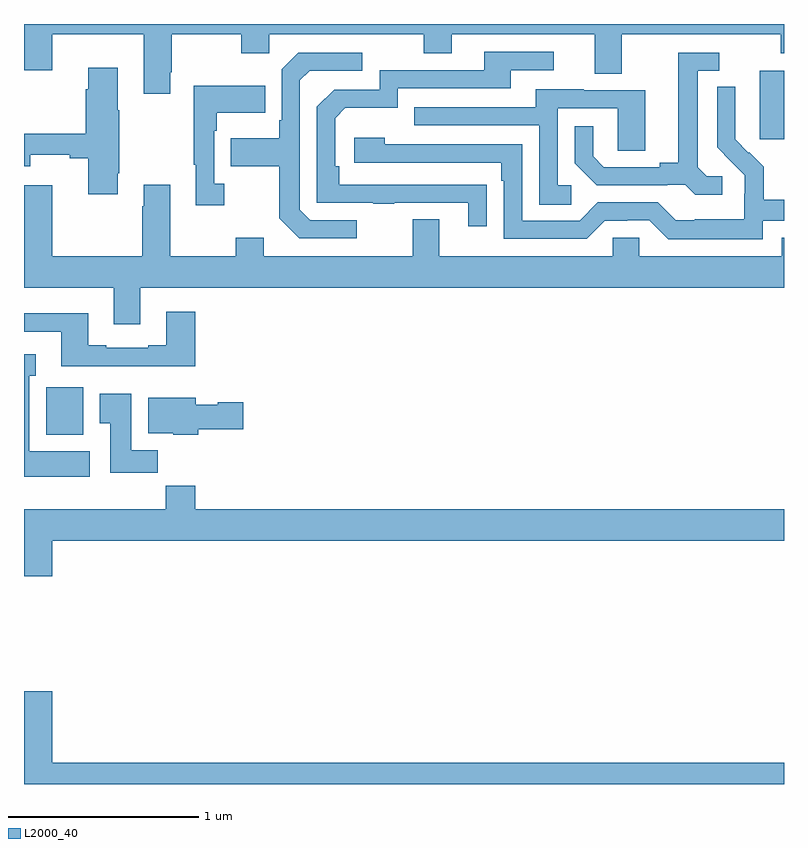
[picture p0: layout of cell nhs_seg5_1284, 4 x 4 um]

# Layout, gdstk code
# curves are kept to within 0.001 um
import gdstk
lib = gdstk.Library(unit=1e-6, precision=1e-09)
def R(c, l, rs):  # rectangles x0, y0, x1, y1
    for r in rs: c.add(gdstk.rectangle(r[:2], r[2:], *l))
def P(c, l, *ps):  # polygons
    for p in ps: c.add(gdstk.Polygon(p, *l))
L2000_40 = (2000, 40)

nhs_seg5_1284 = lib.new_cell('nhs_seg5_1284')
R(nhs_seg5_1284, L2000_40, [(189.117,870.638,189.313,870.888), (192.872,872.193,193,872.554)])
P(nhs_seg5_1284, L2000_40, [(189.769,872.545),(189.777,872.545),(189.777,872.744),(190.144,872.744),(190.144,872.645),(190.29,872.645),(190.29,872.744),(191.104,872.744),(191.104,872.645),(191.251,872.645),(191.251,872.744),(192.005,872.744),(192.005,872.536),(192.145,872.536),(192.145,872.744),(192.982,872.744),(192.982,872.645),(193,872.645),(193,872.799),(189,872.799),(189,872.556),(189.148,872.556),(189.148,872.744),(189.629,872.744),(189.629,872.433),(189.769,872.433)],
  [(191.435,871.952),(190.658,871.953),(190.658,872.05),(190.638,872.05),(190.638,872.304),(190.691,872.357),(190.968,872.357),(190.968,872.46),(191.563,872.46),(191.563,872.556),(191.788,872.556),(191.788,872.652),(191.423,872.652),(191.423,872.556),(190.872,872.556),(190.872,872.454),(190.632,872.454),(190.542,872.364),(190.542,871.857),(190.837,871.857),(190.837,871.852),(190.949,871.852),(190.949,871.857),(191.339,871.857),(191.339,871.734),(191.435,871.734)],
  [(192.676,871.998),(192.594,871.998),(192.547,872.045),(192.547,872.553),(192.658,872.553),(192.658,872.649),(192.443,872.649),(192.443,872.069),(192.347,872.069),(192.347,872.046),(192.052,872.046),(191.995,872.103),(191.995,872.26),(191.898,872.26),(191.898,872.066),(192.014,871.95),(192.386,871.95),(192.386,871.953),(192.48,871.953),(192.532,871.901),(192.676,871.901)],
  [(190.75,871.767),(190.506,871.767),(190.452,871.821),(190.452,872.502),(190.503,872.553),(190.78,872.553),(190.78,872.649),(190.443,872.649),(190.356,872.562),(190.356,872.293),(190.344,872.293),(190.344,872.197),(190.087,872.197),(190.087,872.05),(190.344,872.05),(190.344,871.777),(190.449,871.671),(190.75,871.671)],
  [(189.493,872.014),(189.501,872.014),(189.501,872.345),(189.493,872.345),(189.493,872.569),(189.338,872.569),(189.338,872.456),(189.326,872.456),(189.326,872.221),(189,872.221),(189,872.05),(189.034,872.05),(189.034,872.111),(189.242,872.111),(189.242,872.092),(189.338,872.092),(189.338,871.902),(189.493,871.902)],
  [(190.054,871.958),(190.002,871.958),(190.002,872.237),(190.015,872.237),(190.015,872.333),(190.271,872.333),(190.271,872.473),(189.894,872.473),(189.894,872.057),(189.905,872.057),(189.905,871.845),(190.054,871.845)],
  [(192.888,871.764),(193,871.764),(193,871.873),(192.893,871.873),(192.893,872.047),(192.816,872.124),(192.813,872.121),(192.743,872.192),(192.744,872.468),(192.648,872.468),(192.648,872.15),(192.794,872.002),(192.794,871.905),(192.792,871.905),(192.792,871.771),(192.529,871.771),(192.529,871.767),(192.429,871.767),(192.336,871.86),(192.021,871.86),(191.925,871.764),(191.622,871.764),(191.622,872.166),(190.898,872.166),(190.898,872.2),(190.737,872.2),(190.737,872.07),(191.513,872.07),(191.513,871.973),(191.526,871.973),(191.526,871.668),(191.961,871.668),(192.057,871.764),(192.176,871.764),(192.176,871.767),(192.291,871.767),(192.391,871.667),(192.888,871.667)],
  [(191.881,871.95),(191.808,871.95),(191.808,872.355),(192.126,872.355),(192.126,872.131),(192.271,872.131),(192.271,872.451),(191.947,872.451),(191.947,872.455),(191.693,872.455),(191.693,872.361),(191.053,872.361),(191.053,872.265),(191.712,872.265),(191.712,871.849),(191.881,871.849)],
  [(189.613,871.412),(193,871.412),(193,871.675),(192.989,871.675),(192.989,871.576),(192.237,871.576),(192.237,871.674),(192.099,871.674),(192.099,871.576),(191.185,871.576),(191.185,871.771),(191.045,871.771),(191.045,871.576),(190.261,871.576),(190.261,871.675),(190.114,871.675),(190.114,871.576),(189.769,871.576),(189.769,871.954),(189.629,871.954),(189.629,871.841),(189.622,871.841),(189.622,871.576),(189.148,871.576),(189.148,871.951),(189,871.951),(189,871.412),(189.473,871.412),(189.473,871.218),(189.613,871.218)],
  [(189.902,871.285),(189.749,871.285),(189.749,871.108),(189.653,871.108),(189.653,871.095),(189.433,871.095),(189.433,871.108),(189.337,871.108),(189.337,871.276),(189,871.276),(189,871.179),(189.197,871.179),(189.197,870.998),(189.902,870.998)],
  [(189.346,870.55),(189.028,870.55),(189.028,870.947),(189.061,870.947),(189.061,871.06),(189,871.06),(189,870.416),(189.346,870.416)],
  [(189.704,870.556),(189.565,870.556),(189.565,870.853),(189.398,870.853),(189.398,870.697),(189.455,870.697),(189.455,870.438),(189.704,870.438)],
  [(189.917,870.667),(190.153,870.667),(190.153,870.809),(190.02,870.809),(190.02,870.796),(189.904,870.796),(189.904,870.832),(189.653,870.832),(189.653,870.644),(189.786,870.644),(189.786,870.638),(189.917,870.638)],
  [(189.148,870.08),(193,870.08),(193,870.244),(189.902,870.244),(189.902,870.368),(189.745,870.368),(189.745,870.244),(189,870.244),(189,869.892),(189.148,869.892)],
  [(189.148,869.287),(189,869.287),(189,868.799),(193,868.799),(193,868.912),(189.148,868.912)])

lib.write_gds('nhs_seg5_1284.gds')
